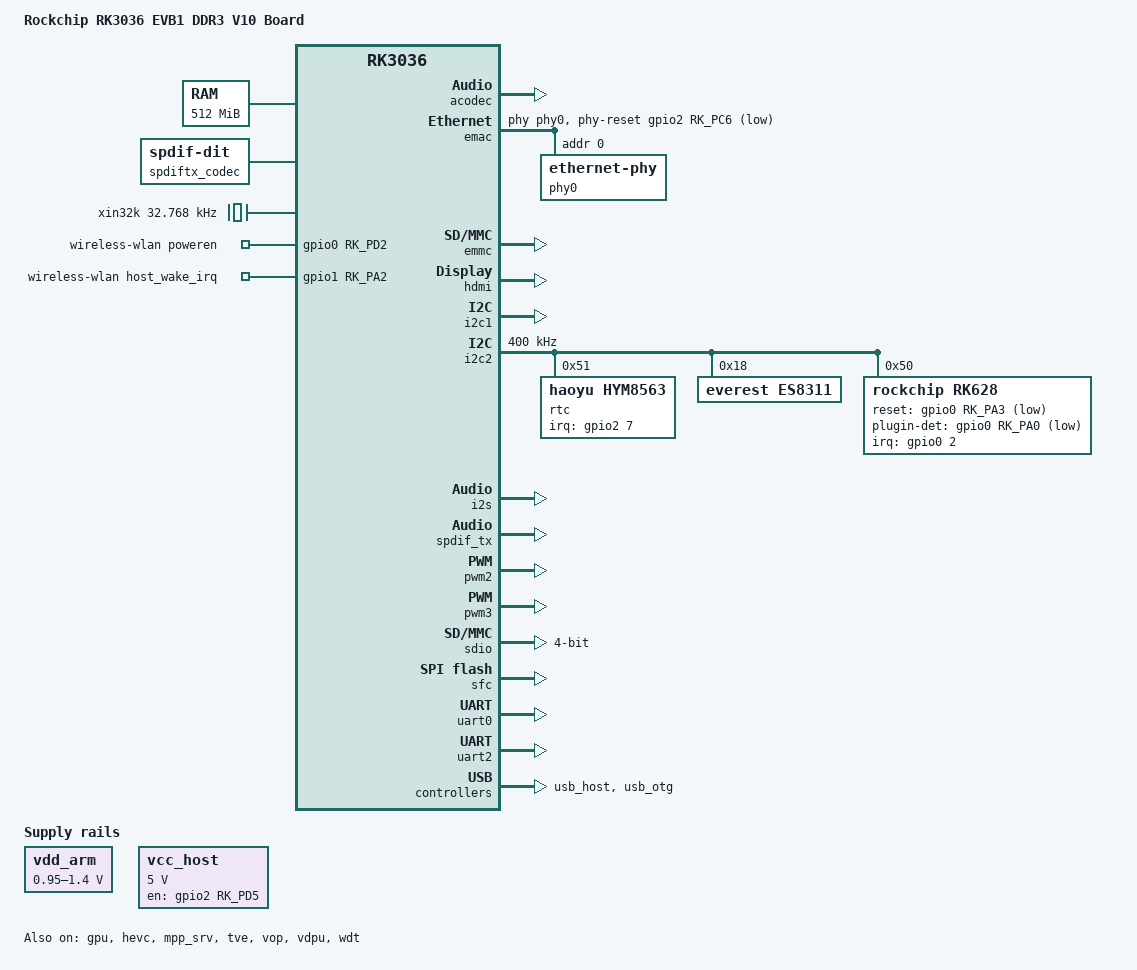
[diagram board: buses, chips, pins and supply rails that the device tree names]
// SPDX-License-Identifier: (GPL-2.0+ OR MIT)
/*
 * Copyright (c) 2022 Rockchip Electronics Co., Ltd
 *
 */

/dts-v1/;

#include "rk3036.dtsi"
#include <dt-bindings/input/input.h>

/ {
	model = "Rockchip RK3036 EVB1 DDR3 V10 Board";
	compatible = "rockchip,rk3036-evb1-ddr3-v10", "rockchip,rk3036";

	chosen {
		bootargs = "console=uart8250,mmio32,0x20068000 rw root=PARTUUID=614e0000-0000 rootfstype=ext4 rootwait";
	};

	memory {
		device_type = "memory";
		reg = <0x60000000 0x20000000>;
	};

	multi_sounds: multi-sounds {
		status = "okay";
		compatible = "simple-audio-card";
		simple-audio-card,format = "i2s";
		simple-audio-card,mclk-fs = <256>;
		simple-audio-card,name = "rockchip,rk3036-sounds";
		simple-audio-card,dai-link@0 {
			format = "i2s";
			cpu {
				sound-dai = <&i2s>;
			};
			codec {
				sound-dai = <&acodec>;
			};
		};
		simple-audio-card,dai-link@1 {
			format = "i2s";
			cpu {
				sound-dai = <&i2s>;
			};
			codec {
				sound-dai = <&hdmi>;
			};
		};
		simple-audio-card,dai-link@2 {
			format = "i2s";
			cpu {
				sound-dai = <&i2s>;
			};
			codec {
				sound-dai = <&es8311>;
			};
		};
	};

	spdiftx_codec: spdiftx-codec {
		status = "okay";
		compatible = "linux,spdif-dit";
		#sound-dai-cells = <0>;
	};

	spdif_sound: spdif-sound {
		status = "okay";
		compatible = "simple-audio-card";
		simple-audio-card,name = "rockchip,spdif-sound";
		simple-audio-card,dai-link {
			mclk-fs = <256>;
			cpu {
				sound-dai = <&spdif_tx>;
			};
			codec {
				sound-dai = <&spdiftx_codec>;
			};
		};
	};

	vdd_arm: vdd-arm-regulator {
		 compatible = "pwm-regulator";
		 rockchip,pwm_id = <2>;
		 pwms = <&pwm2 0 25000 0>;
		 regulator-name = "vdd_arm";
		 regulator-init-microvolt = <1100000>;
		 regulator-min-microvolt = <950000>;
		 regulator-max-microvolt = <1400000>;
		 regulator-always-on;
		 regulator-boot-on;
	 };

	vcc_host: vcc-host-regulator {
		compatible = "regulator-fixed";
		regulator-name = "vcc_host";
		gpio = <&gpio2 RK_PD5 GPIO_ACTIVE_HIGH>;
		pinctrl-names = "default";
		pinctrl-0 = <&host_vbus_drv>;
		regulator-min-microvolt = <5000000>;
		regulator-max-microvolt = <5000000>;
		regulator-always-on;
		enable-active-high;
		regulator-boot-on;
	};

	xin32k: xin32k {
		compatible = "fixed-clock";
		clock-frequency = <32768>;
		clock-output-names = "xin32k";
		#clock-cells = <0>;
	};

	wireless-wlan {
		compatible = "wlan-platdata";

		wifi_chip_type = "rk915";
		WIFI,poweren_gpio = <&gpio0 RK_PD2 GPIO_ACTIVE_HIGH>;
		WIFI,host_wake_irq = <&gpio1 RK_PA2 GPIO_ACTIVE_HIGH>;
		status = "okay";
	};
};

&acodec {
	pa-ctl-gpios = <&gpio2 RK_PD6 GPIO_ACTIVE_HIGH>;
	#sound-dai-cells = <0>;
	status = "okay";
};

&cpu0 {
	cpu-supply = <&vdd_arm>;
};

&cpu0_opp_table {
	/delete-node/ opp-408000000;
	/delete-node/ opp-1200000000;
};

&emac {
	pinctrl-names = "default";
	pinctrl-0 = <&emac_xfer>, <&emac_mdio>;
	phy = <&phy0>;
	phy-reset-gpios = <&gpio2 RK_PC6 GPIO_ACTIVE_LOW>; /* PHY_RST */
	phy-reset-duration = <10>; /* millisecond */


	/* If you're going to use Ethernet, you need an external clock
	 * This is just a test(e.g: the accurate 50MHz what mac_ref need)
	 * so cpu The frequency should be set to 600M
	 */
	assigned-clock-parents = <&cru PLL_APLL>;
	status = "okay";

	phy0: ethernet-phy@0 {
		reg = <0>;
	};
};

&emmc {
	rockchip,default-sample-phase = <0>;
	status = "okay";
};

&gpu {
	status = "okay";
	mali-supply = <&vdd_arm>;
};

&hdmi {
	#sound-dai-cells = <0>;
	status = "okay";
};

&hevc {
	status = "okay";
};

&hevc_mmu {
	status = "okay";
};

&i2c1 {
	status = "okay";
};

&i2c2 {
	clock-frequency = <400000>;
	status = "okay";

	rtc@51 {
		compatible = "haoyu,hym8563";
		reg = <0x51>;
		interrupt-parent = <&gpio2>;
		interrupts = <7 IRQ_TYPE_LEVEL_LOW>;
		pinctrl-names = "default";
		pinctrl-0 = <&rtc_int>;
		#clock-cells = <0>;
		clock-output-names = "xin32k";
	};

	es8311: es8311@18 {
		compatible = "everest,es8311";
		reg = <0x18>;
		clocks = <&cru SCLK_I2S_OUT>;
		clock-names = "mclk";
		adc-pga-gain = <8>;
		adc-volume = <0xdf>;
		dac-volume = <0xbf>;
		aec-mode = "adc left, adc right";
		pinctrl-names = "default";
		pinctrl-0 = <&i2s_mclk>;

		/*
		 * in rk3036-evb-v10,es8311 is not actually connected
		 * to PA,so we don't need spk-ctl-gpios
		 */
		/*spk-ctl-gpios = ;*/

		#sound-dai-cells = <0>;
	};

	rk628: rk628@50 {
		compatible = "rockchip,rk628";
		reg = <0x50>;
		interrupt-parent = <&gpio0>;
		interrupts = <2 IRQ_TYPE_LEVEL_HIGH>;
		reset-gpios = <&gpio0 RK_PA3 GPIO_ACTIVE_LOW>;
		plugin-det-gpios = <&gpio0 RK_PA0 GPIO_ACTIVE_LOW>;
		status = "okay";
		rk628,hdmi-in;
		rk628-dsi {
			//rockchip,dual-channel;
			dsi,eotp;
			dsi,video-mode;
			dsi,format = "rgb888";
			dsi,lanes  = <4>;
			status = "okay";

			rk628-panel {
				panel-init-sequence = [
					39 00 04 ff 98 81 03
					15 00 02 01 00
					15 00 02 02 00
					15 00 02 03 53
					15 00 02 04 53
					15 00 02 05 13
					15 00 02 06 04
					15 00 02 07 02
					15 00 02 08 02
					15 00 02 09 00
					15 00 02 0a 00
					15 00 02 0b 00
					15 00 02 0c 00
					15 00 02 0d 00
					15 00 02 0e 00
					15 00 02 0f 00
					15 00 02 10 00
					15 00 02 11 00
					15 00 02 12 00
					15 00 02 13 00
					15 00 02 14 00
					15 00 02 15 08
					15 00 02 16 10
					15 00 02 17 00
					15 00 02 18 08
					15 00 02 19 00
					15 00 02 1a 00
					15 00 02 1b 00
					15 00 02 1c 00
					15 00 02 1d 00
					15 00 02 1e c0
					15 00 02 1f 80
					15 00 02 20 02
					15 00 02 21 09
					15 00 02 22 00
					15 00 02 23 00
					15 00 02 24 00
					15 00 02 25 00
					15 00 02 26 00
					15 00 02 27 00
					15 00 02 28 55
					15 00 02 29 03
					15 00 02 2a 00
					15 00 02 2b 00
					15 00 02 2c 00
					15 00 02 2d 00
					15 00 02 2e 00
					15 00 02 2f 00
					15 00 02 30 00
					15 00 02 31 00
					15 00 02 32 00
					15 00 02 33 00
					15 00 02 34 04
					15 00 02 35 05
					15 00 02 36 05
					15 00 02 37 00
					15 00 02 38 3c
					15 00 02 39 35
					15 00 02 3a 00
					15 00 02 3b 40
					15 00 02 3c 00
					15 00 02 3d 00
					15 00 02 3e 00
					15 00 02 3f 00
					15 00 02 40 00
					15 00 02 41 88
					15 00 02 42 00
					15 00 02 43 00
					15 00 02 44 1f
					15 00 02 50 01
					15 00 02 51 23
					15 00 02 52 45
					15 00 02 53 67
					15 00 02 54 89
					15 00 02 55 ab
					15 00 02 56 01
					15 00 02 57 23
					15 00 02 58 45
					15 00 02 59 67
					15 00 02 5a 89
					15 00 02 5b ab
					15 00 02 5c cd
					15 00 02 5d ef
					15 00 02 5e 03
					15 00 02 5f 14
					15 00 02 60 15
					15 00 02 61 0c
					15 00 02 62 0d
					15 00 02 63 0e
					15 00 02 64 0f
					15 00 02 65 10
					15 00 02 66 11
					15 00 02 67 08
					15 00 02 68 02
					15 00 02 69 0a
					15 00 02 6a 02
					15 00 02 6b 02
					15 00 02 6c 02
					15 00 02 6d 02
					15 00 02 6e 02
					15 00 02 6f 02
					15 00 02 70 02
					15 00 02 71 02
					15 00 02 72 06
					15 00 02 73 02
					15 00 02 74 02
					15 00 02 75 14
					15 00 02 76 15
					15 00 02 77 0f
					15 00 02 78 0e
					15 00 02 79 0d
					15 00 02 7a 0c
					15 00 02 7b 11
					15 00 02 7c 10
					15 00 02 7d 06
					15 00 02 7e 02
					15 00 02 7f 0a
					15 00 02 80 02
					15 00 02 81 02
					15 00 02 82 02
					15 00 02 83 02
					15 00 02 84 02
					15 00 02 85 02
					15 00 02 86 02
					15 00 02 87 02
					15 00 02 88 08
					15 00 02 89 02
					15 00 02 8a 02
					39 00 04 ff 98 81 04
					15 00 02 00 80
					15 00 02 70 00
					15 00 02 71 00
					15 00 02 66 fe
					15 00 02 82 15
					15 00 02 84 15
					15 00 02 85 15
					15 00 02 3a 24
					15 00 02 32 ac
					15 00 02 8c 80
					15 00 02 3c f5
					15 00 02 88 33
					39 00 04 ff 98 81 01
					15 00 02 22 0a
					15 00 02 31 00
					15 00 02 53 78
					15 00 02 55 7b
					15 00 02 60 20
					15 00 02 61 00
					15 00 02 62 0d
					15 00 02 63 00
					15 00 02 a0 00
					15 00 02 a1 10
					15 00 02 a2 1c
					15 00 02 a3 13
					15 00 02 a4 15
					15 00 02 a5 26
					15 00 02 a6 1a
					15 00 02 a7 1d
					15 00 02 a8 67
					15 00 02 a9 1c
					15 00 02 aa 29
					15 00 02 ab 5b
					15 00 02 ac 26
					15 00 02 ad 28
					15 00 02 ae 5c
					15 00 02 af 30
					15 00 02 b0 31
					15 00 02 b1 32
					15 00 02 b2 00
					15 00 02 b1 2e
					15 00 02 b2 32
					15 00 02 b3 00
					15 00 02 c0 00
					15 00 02 c1 10
					15 00 02 c2 1c
					15 00 02 c3 13
					15 00 02 c4 15
					15 00 02 c5 26
					15 00 02 c6 1a
					15 00 02 c7 1d
					15 00 02 c8 67
					15 00 02 c9 1c
					15 00 02 ca 29
					15 00 02 cb 5b
					15 00 02 cc 26
					15 00 02 cd 28
					15 00 02 ce 5c
					15 00 02 cf 30
					15 00 02 d0 31
					15 00 02 d1 2e
					15 00 02 d2 32
					15 00 02 d3 00
					39 00 04 ff 98 81 00
					05 00 01 11
					05 01 01 29
				];
			};
		};

		display-timings {

			src-timing {
				clock-frequency = <65000000>;
				hactive = <720>;
				vactive = <1280>;
				hfront-porch = <48>;
				hsync-len = <8>;
				hback-porch = <52>;
				vfront-porch = <16>;
				vsync-len = <6>;
				vback-porch = <15>;
				hsync-active = <0>;
				vsync-active = <0>;
				de-active = <0>;
				pixelclk-active = <0>;
			};

			dst-timing {
				clock-frequency = <65000000>;
				hactive = <720>;
				vactive = <1280>;
				hfront-porch = <48>;
				hsync-len = <8>;
				hback-porch = <52>;
				vfront-porch = <16>;
				vsync-len = <6>;
				vback-porch = <15>;
				hsync-active = <0>;
				vsync-active = <0>;
				de-active = <0>;
				pixelclk-active = <0>;
			};
		};
	};
};

&i2s {
	status = "okay";
	#sound-dai-cells = <0>;
	pinctrl-0 = <&i2s_sclk
		     &i2s_lrclktx
		     &i2s_sdo
		     &i2s_sdi>;
};

&mpp_srv {
	status = "okay";
};

&spdif_tx {
	status = "okay";
	#sound-dai-cells = <0>;
};

&pinctrl {
	usb {
		host_vbus_drv: host-vbus-drv {
			rockchip,pins = <2 RK_PD5 RK_FUNC_GPIO &pcfg_pull_none>;
		};
	};

	hym8563 {
		rtc_int: rtc-int {
			rockchip,pins = <2 RK_PA7 RK_FUNC_GPIO &pcfg_pull_none>;
		};
	};
};

&pwm2 {
	status = "okay";
};

&pwm3 {
	status = "okay";
	pinctrl-names = "default";
	pinctrl-0 = <&pwm3_pin>;
	compatible = "rockchip,remotectl-pwm";
	remote_pwm_id = <3>;
	handle_cpu_id = <1>;
	remote_support_psci = <1>;

	ir_key1 {
		rockchip,usercode = <0x4040>;
		rockchip,key_table =
			<0xf2	KEY_REPLY>,
			<0xba	KEY_BACK>,
			<0xf4	KEY_UP>,
			<0xf1	KEY_DOWN>,
			<0xef	KEY_LEFT>,
			<0xee	KEY_RIGHT>,
			<0xbd	KEY_HOME>,
			<0xea	KEY_VOLUMEUP>,
			<0xe3	KEY_VOLUMEDOWN>,
			<0xe2	KEY_SEARCH>,
			<0xb2	KEY_POWER>,
			<0xbc	KEY_MUTE>,
			<0xec	KEY_MENU>,
			<0xbf	0x190>,
			<0xe0	0x191>,
			<0xe1	0x192>,
			<0xe9	183>,
			<0xe6	248>,
			<0xe8	185>,
			<0xe7	186>,
			<0xf0	388>,
			<0xbe	0x175>;
	};

	ir_key2 {
		rockchip,usercode = <0xff00>;
		rockchip,key_table =
			<0xf9	KEY_HOME>,
			<0xbf	KEY_BACK>,
			<0xfb	KEY_MENU>,
			<0xaa	KEY_REPLY>,
			<0xb9	KEY_UP>,
			<0xe9	KEY_DOWN>,
			<0xb8	KEY_LEFT>,
			<0xea	KEY_RIGHT>,
			<0xeb	KEY_VOLUMEDOWN>,
			<0xef	KEY_VOLUMEUP>,
			<0xf7	KEY_MUTE>,
			<0xe7	KEY_POWER>,
			<0xfc	KEY_POWER>,
			<0xa9	KEY_VOLUMEDOWN>,
			<0xa8	KEY_PLAYPAUSE>,
			<0xe0	KEY_VOLUMEDOWN>,
			<0xa5	KEY_VOLUMEDOWN>,
			<0xab	183>,
			<0xb7	388>,
			<0xe8	388>,
			<0xf8	184>,
			<0xaf	185>,
			<0xed	KEY_VOLUMEDOWN>,
			<0xee	186>,
			<0xb3	KEY_VOLUMEDOWN>,
			<0xf1	KEY_VOLUMEDOWN>,
			<0xf2	KEY_VOLUMEDOWN>,
			<0xf3	KEY_SEARCH>,
			<0xb4	KEY_VOLUMEDOWN>,
			<0xa4	KEY_SETUP>,
			<0xbe	KEY_SEARCH>;
	};

	ir_key3 {
		rockchip,usercode = <0x1dcc>;
		rockchip,key_table =
			<0xee	KEY_REPLY>,
			<0xf0	KEY_BACK>,
			<0xf8	KEY_UP>,
			<0xbb	KEY_DOWN>,
			<0xef	KEY_LEFT>,
			<0xed	KEY_RIGHT>,
			<0xfc	KEY_HOME>,
			<0xf1	KEY_VOLUMEUP>,
			<0xfd	KEY_VOLUMEDOWN>,
			<0xb7	KEY_SEARCH>,
			<0xff	KEY_POWER>,
			<0xf3	KEY_MUTE>,
			<0xbf	KEY_MENU>,
			<0xf9	0x191>,
			<0xf5	0x192>,
			<0xb3	388>,
			<0xbe	KEY_1>,
			<0xba	KEY_2>,
			<0xb2	KEY_3>,
			<0xbd	KEY_4>,
			<0xf9	KEY_5>,
			<0xb1	KEY_6>,
			<0xfc	KEY_7>,
			<0xf8	KEY_8>,
			<0xb0	KEY_9>,
			<0xb6	KEY_0>,
			<0xb5	KEY_BACKSPACE>;
	};
};

&sdio {
	bus-width = <4>;
	max_frequency = <50000000>;
	cap-sd-highspeed;
	supports-sdio;
	ignore-pm-notify;
	keep-power-in-suspend;
	supports-rk912;
	/delete-property/ non-removable;

	pinctrl-names = "default";
	pinctrl-0 = <&sdio_clk &sdio_cmd &sdio_bus4>;

	//status = "okay";
};

&sdmmc {
	bus-width = <4>;
	cap-mmc-highspeed;
	cap-sd-highspeed;
	card-detect-delay = <200>;
	disable-wp;
	num-slots = <1>;
	pinctrl-names = "default";
	pinctrl-0 = <&sdmmc_clk>, <&sdmmc_cmd>, <&sdmmc_cd>, <&sdmmc_bus4>;
	supports-sd;
	status = "disabled";
};

&sfc {
	status = "okay";
};

&tve {
	status = "okay";
};

&uart0 {
	pinctrl-0 = <&uart0_xfer>, <&uart0_cts>;
	status = "okay";
};

&uart2 {
	status = "okay";
};

&usb_host {
	status = "okay";
};

&usb_otg {
	status = "okay";
};

&vop {
	status = "okay";
};

&vop_mmu {
	status = "okay";
};

&vdpu {
	status = "okay";
};

&vpu_mmu {
	status = "okay";
};

&wdt {
	status = "okay";
};

